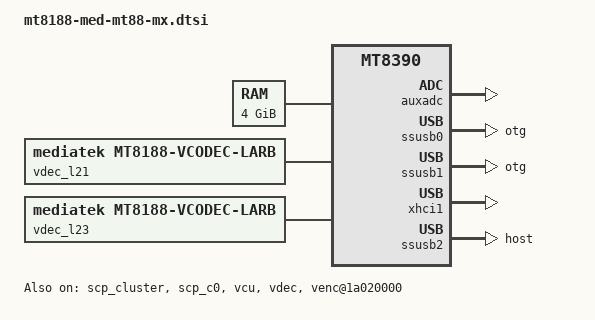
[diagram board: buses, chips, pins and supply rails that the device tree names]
// SPDX-License-Identifier: (GPL-2.0 OR MIT)
/*
 * Libre Computer MED-MT88-MX (MT8188-die SODIMM SOM) -- board half shared by
 * the two SKUs, which are the same PCB with a different eFuse:
 *   MED-MT88-MX-G5 = MT8370  (mt8370-med-mt88-mx-g5.dts, includes mt8370.dtsi)
 *   MED-MT88-MX-G7 = MT8390  (mt8390-med-mt88-mx-g7.dts, includes mt8188.dtsi,
 *                             as mt8390-genio-700-evk.dts does: MT8390 is the
 *                             full MT8188 die, no SoC dtsi of its own)
 * The board .dts includes the SoC dtsi, then this file, and sets only /model
 * and /compatible. Nothing below is SoC-specific: the fused-out G5 cores and
 * GPU core live in mt8370.dtsi.
 *
 * USB map matches U-Boot L66 (024b65093b0) and the MX pinout's USB port
 * allocation:
 *   Type-C P0  = ssusb0 USB2 DRD only (no SSUSB; DP_TX on Type-C SS pins)
 *   SODIMM  P1 = ssusb1 USB3 DRD (u2port1 + u3port1)
 *   SODIMM  P2 = ssusb2 USB2 (Group C)
 *
 * mt8390-genio-common.dtsi is the MT8188 EVK PMIC/mmc/i2c skeleton. The MX is
 * not that EVK: no USB hub, no IT5205 SS/DP mux, Type-C is USB2+DP only.
 * USB nodes below are first-class MX wiring, not an EVK overlay.
 */

#include "mt8390-genio-common.dtsi"
#include "mt8188-apusys.dtsi"

/ {
	/*
	 * Placeholder only: the MX (MT8370/MT8390) BL2 detects DRAM at runtime
	 * (2/4/8 GiB assemblies, one image) and U-Boot rewrites this node from
	 * the detected size. Same value for both SKUs.
	 */
	memory@40000000 {
		device_type = "memory";
		reg = <0 0x40000000 0x1 0x00000000>;
	};
};

/*
 * Memory map. The secure runtime on this board is NOT at the addresses
 * mt8390-genio-common.dtsi reserves for the MT8188 EVKs (BL31 TZRAM
 * 0x54600000, OP-TEE 0x43200000). Our TF-A fork packs it at the DRAM base:
 * plat/mediatek/mt8188/include/platform_def.h:331 TZRAM_BASE 0x40000000,
 * :332 TZRAM_SIZE 2 MiB, :344/:363 BL31_BASE = TZRAM_BASE + 0x1000,
 * :348 BL32_BASE 0x40200000, :349 BL32_LIMIT 10 MiB (master-gaema
 * 75f1e6b60 "mt8188: pack TZRAM/BL32 at DRAM base"). Inherited unchanged,
 * the DT handed Linux 4 GiB from 0x40000000 with nothing reserved below
 * 0x43200000, i.e. BL31 and OP-TEE as ordinary System RAM, and no
 * bootloader can fix it from the other side. U-Boot derives the bank from
 * its own constant, not from the DT: u-boot common/board_f.c:351-352
 * gd->ram_base = CFG_SYS_SDRAM_BASE (u-boot include/configs/mt8188.h:96 =
 * 0x40000000), :247-248 bi_dram[0].start = gd->ram_base, and at bootm
 * u-boot arch/arm/lib/bootm.c:409 -> arch/arm/lib/bootm-fdt.c:34,44-45,54
 * fdt_fixup_memory_banks() writes that start/size back into /memory. The
 * base Linux boots with is therefore 0x40000000 either way, so a
 * reserved-memory node is the only thing that can fence the secure runtime.
 * That is the configuration that made BL31 unbootable behind this BL2: the
 * EL3 image was loaded to the vendor address while its text links at ours.
 *
 * So the two inherited secure carve-outs are deleted below and replaced at
 * the addresses this board's BL31 actually occupies:
 *   0x40000000  2 MiB  BL31  (TZRAM_BASE .. BL31_LIMIT)
 *   0x40200000 12 MiB  BL32  OP-TEE: TEE_RAM 2 + TA_RAM 8 + SHMEM 2, the
 *                         same layout genio-common documents at
 *                         :83-96 for 0x43200000 -- 2 MiB wider than
 *                         BL32_LIMIT on purpose, so the SHMEM that sits
 *                         above the limit is never Linux RAM.
 * Everything else in the genio-common map stays -- SCP 0x50000000, VPU
 * 0x57000000, ADSP 0x60000000 and the DMA pools are loaded by other firmware
 * at the same addresses under both maps -- except the APU pool, which moves
 * below for the reason its own comment gives. The change is in this MX board
 * dtsi, not in the shared EVK dtsi, because the Genio EVKs do boot the vendor
 * map and must keep the inherited nodes.
 *
 * Deleting the inherited nodes is safe: nothing references them. `git grep
 * '&optee_reserved\|&bl31_secmon_reserved' linux-6.18.y-lc -- arch/arm64/boot/dts`
 * is empty; the only memory-region user in genio-common is scp_mem at
 * :1333 (the scp_cluster), and /chosen there carries only stdout-path
 * (:47-49). The bl31_secmon_reserved string the old DTB showed lives in
 * /__symbols__ -- it is generated from the label, not written by hand.
 *
 * The two copies of this file (linux
 * arch/arm64/boot/dts/mediatek/mt8188-med-mt88-mx.dtsi and u-boot
 * dts/upstream/src/arm64/mediatek/mt8188-med-mt88-mx.dtsi) are kept
 * byte-identical except for the pre-existing vcu power-domains hunk --
 * /device-tree-sync: this tree builds U-Boot's own DTB from dts/upstream/,
 * and U-Boot is the stage that fixes up /memory on its way to Linux.
 */
&{/reserved-memory} {
	/delete-node/ memory@54600000;
	/delete-node/ optee@43200000;

	/* 2 MiB for ARM Trusted Firmware (BL31) at TZRAM_BASE */
	bl31_secmon_tzram: memory@40000000 {
		no-map;
		reg = <0 0x40000000 0 0x00200000>;
	};

	/* 12 MiB for OP-TEE (BL32) at BL32_BASE, see the map comment above */
	optee_tzram_reserved: optee@40200000 {
		no-map;
		reg = <0 0x40200000 0 0x00c00000>;
	};
};

/*
 * The APU (RV33) pool is the one inherited reservation this board must not
 * keep at the EVK's address, because EL3 does not read the DT here: BL31's
 * LOAD_IMAGE handler (SiP op 28) compares the address the kernel hands it
 * against compile-time constants. master-gaema 9f2826101
 * plat/mediatek/mt8188/drivers/apusys/apusys_rv/2.0/apusys_rv.h:163-164
 * pins APUSYS_RESERVED_MEM_START 0x41800000 / APUSYS_RESERVED_MEM_SZ
 * 0x1400000 -- its own comment reads "below setting aligned dts (G5 packed
 * CMA after 10 MiB SCP)" -- and the common copy states the contract outright
 * (apusys_rv/2.0/apusys_rv_load_img.h:29-30, "Need same with
 * DTS:apusys-reserve-memory"). is_valid_pa_dram_range() (apusys_rv.c:
 * 2068-2082) is an equality test, not a bounds check, so with the inherited
 * 0x55000000 the size agreed and the base did not: the SMC answered -EINVAL,
 * mtk-apu logged "apusys_rv_loadimage_smc_call: smc call 28 return
 * error(-22)", the driver's probe failed with -22 and MDLA never appeared.
 *
 * 0x41800000 is free on this board, three ways: the secure carve-outs above
 * end at 0x40E00000, the next inherited reservation starts at 0x50000000, and
 * U-Boot's own lmb already holds [0x41800000-0x43ffffff] no-overwrite, so the
 * BL33 never allocates there and Linux stops doing so once this node exists.
 * The size stays 20 MB and the node keeps no no-map, exactly as inherited --
 * the APU maps it itself through apusys_rv's dma-ranges, and BL31 requires
 * 0 < apusys_img_size < res_mem_size with img/sec_info/sec_mem/coredump packed
 * inside it (apusys_rv.c:3075-3105).
 */
&{/reserved-memory} {
	/delete-node/ memory@55000000;

	/* 20 MB for the APU RV33 firmware, where BL31's op-28 gate reads it */
	apu_mem: memory@41800000 {
		compatible = "shared-dma-pool";
		reg = <0 0x41800000 0 0x01400000>;	/* 20 MB */
	};
};

&{/chosen} {
	/* where the EL3 runtime lives, named where a reader looks for it */
	bl31_secmon_reserved = "/reserved-memory/memory@40000000";
};

&auxadc {
	/*
	 * The board wires AUXIN0 to a thermistor and AUXIN1 to a board-ID divider
	 * (MED-MT88-MX schematic V0.1, the AUXIN block of the SoC sheet).
	 */
	status = "okay";
};

&mmc0 {
	/*
	 * Run the eMMC at HS400 Enhanced Strobe. The fitted chip (Sandisk DG4064)
	 * supports it (EXT_CSD STROBE_SUPPORT[184]=0x01, verified). ES is
	 * self-aligning: the device drives the data strobe with the data, so the
	 * host skips the plain-HS400 DS-delay eye search
	 * (msdc_execute_hs400_tuning). That search is marginal on this board with
	 * the genio-common hs400-ds-delay-only config -- it intermittently fails
	 * cold with "Failed to get DLY1 delay" -> "error -5 whilst initialising
	 * MMC card". ES avoids it entirely (matches our u-boot, which runs ES, and
	 * the mt8188-geralt Chromebook). Genio-510-specific override -- not in the
	 * shared mt8390-genio-common.dtsi (genio-700/1200 use that too, untested).
	 */
	mmc-hs400-enhanced-strobe;
};

/*
 * Genio-510 uses HDMI, not DisplayPort. The shared mt8390-genio-common.dtsi
 * defines merge5_out -> dpi1_in (HDMI) but then redefines it -> dp_intf1_in
 * (DisplayPort) later in the same file, which wins by include order and leaves
 * the HDMI pipeline (vdosys1 -> ethdr0 -> merge5 -> dpi1 -> hdmi) with no
 * scanout. Re-point merge5_out at dpi1 here (board dts, included last).
 */
&merge5_out {
	remote-endpoint = <&dpi1_in>;
};

/*
 * Genio-510 has no DisplayPort output -- only HDMI. mt8390-genio-common.dtsi
 * enables dp_intf1 + dp_tx and wires them into the vdosys1 of-graph (for the
 * MT8390 EVK's USB-C DP-altmode). dp_intf1's mediatek-dpi probe defers forever
 * ("Failed to get bridge" -- dp_tx provides no bridge on this board), and because
 * mtk_drm_of_ddp_path_build walks the of-graph, the never-binding dp_intf1 is a
 * required component of the vdosys1 DRM master, which therefore never completes
 * component_master_bind -> no HDMI CRTC -> no mediatek KMS card (modetest sees
 * only panfrost: "not a KMS device"). Re-pointing merge5_out -> dpi1 (above) is
 * necessary but not sufficient; we must also remove dp_intf1/dp_tx from the graph.
 * Disable both so the vdosys1 master binds with the HDMI path only.
 */
&dp_intf1 {
	status = "disabled";
};

&dp_tx {
	status = "disabled";
};

/*
 * Genio-510 is HDMI-only with no physical MIPI-DSI panel. mt8390-genio-common.dtsi
 * enables &disp_dsi0 + a startek,kd070fhfid078 panel for the MT8390 EVK. On the 510
 * the vdosys0 DRM master (the PRIMARY that calls drm_dev_register for the single
 * shared mtk drm_device) never completes -- its dsi/panel component never registers
 * (device_component: mediatek-drm.5.auto "not bound", one component "not
 * registered") -- so NO mediatek KMS card appears even though the vdosys1/HDMI
 * master is bound. Disable disp_dsi0 so vdosys0 drops out and HDMI owns the device.
 */
&disp_dsi0 {
	status = "disabled";
};

/*
 * VCU (vendor Genio) codec path selected. The mainline SCP-path mtk-vcodec
 * (mt8188-vcodec-dec/enc) and the vendor VCU nodes below both claim
 * 0x18000000 / 0x1a020000, so exactly ONE set may be "okay" -- the loser gets
 * -EBUSY on the register banks. Mainline+SCP was measured on 2026-08-29 and
 * walls at the SCP codec IPI (scp ipi 14/4 ack time out), so the mainline
 * nodes are disabled here and the VCU/vpud path (proven on MT8188 Genio-510,
 * 2026-06-25) is enabled instead. Do not enable display CRTC (&disp_dsi0 /
 * DP / HDMI).
 */
&video_decoder {
	status = "disabled";
};

&video_encoder {
	status = "disabled";
};

&{/soc} {
	vcu: vcu@18000000 {
		compatible = "mediatek,mt8395-vcu";
		status = "okay";
		mediatek,vcuid = <0>;
		mediatek,vcuname = "vcu";
		mediatek,vcu-off = <0>;
		reg = <0 0x18000000 0 0x40000>,		/* VDEC_BASE */
		      <0 0x1a020000 0 0x10000>;		/* VENC_BASE */

		/* held while /dev/vcu is open: vpud maps the banks above */
		power-domains = <&spm MT8188_POWER_DOMAIN_VDEC0>,
				<&spm MT8188_POWER_DOMAIN_VDEC1>,
				<&spm MT8188_POWER_DOMAIN_VENC>;
		power-domain-names = "vdec0", "vdec1", "venc";

		iommus = <&vdo_iommu M4U_PORT_L19_VENC_RD_COMV>;

		mediatek,mailbox-gce = <&gce1>;
		mediatek,dec_gce_th_num = <1>;
		mediatek,enc_gce_th_num = <1>;

		mboxes = <&gce1 16 CMDQ_THR_PRIO_1>,
			 <&gce1 17 CMDQ_THR_PRIO_1>;

		gce-event-names = "venc_eof",
				  "venc_wp_2nd_done",
				  "venc_wp_3nd_done";

		gce-events = <CMDQ_EVENT_VENC_TOP_VENC_FRAME_DONE>,
			     <CMDQ_EVENT_VENC_TOP_WP_2ND_STAGE_DONE>,
			     <CMDQ_EVENT_VENC_TOP_WP_3RD_STAGE_DONE>;

		/* GCE_GPR_R10 / GCE_GPR_R11 (gce/mt8195-gce.h: 0xa / 0xb) */
		gce-gpr = <0xa>, <0xb>;
	};

	vdec: vdec@18000000 {
		compatible = "mediatek,mt8395-vcodec-dec";
		status = "okay";
		mediatek,platform = "platform:mt8188";
		mediatek,ipm = <2>;
		reg = <0 0x18000000 0 0x800>,		/* VDEC_BASE */
		      <0 0x18020000 0 0x1000>,		/* VDEC_VLD */
		      <0 0x18025000 0 0x1000>,		/* VDEC_MISC */
		      <0 0x18010000 0 0x800>,		/* VDEC_LAT_MISC */
		      <0 0x18004000 0 0x1000>,		/* VDEC_RACING_CTRL */
		      <0 0x1800f000 0 0x800>,		/* VDEC_SOC_GCON */
		      <0 0x18010800 0 0x800>,		/* VDEC_LAT_WDMA */
		      <0 0x18001000 0 0x1000>,		/* VDEC_LAT_TOP */
		      <0 0x18000800 0 0x800>;		/* VDEC_UFO_ENC */
		reg-names = "VDEC_BASE",
			    "VDEC_VLD",
			    "VDEC_MISC",
			    "VDEC_LAT_MISC",
			    "VDEC_RACING_CTRL",
			    "VDEC_SOC_GCON",
			    "VDEC_LAT_WDMA",
			    "VDEC_LAT_TOP",
			    "VDEC_UFO_ENC";

		iommus = <&vdo_iommu M4U_PORT_L19_VENC_RD_COMV>;
		power-domains = <&spm MT8188_POWER_DOMAIN_VDEC0>;	/* SOC */
		interrupts = <GIC_SPI 707 IRQ_TYPE_LEVEL_HIGH 0>,
			     <GIC_SPI 708 IRQ_TYPE_LEVEL_HIGH 0>,
			     <GIC_SPI 710 IRQ_TYPE_LEVEL_HIGH 0>;

		clocks = <&vdecsys_soc CLK_VDEC1_SOC_LARB1>,
			 <&vdecsys_soc CLK_VDEC1_SOC_LAT>,
			 <&vdecsys_soc CLK_VDEC1_SOC_VDEC>,
			 <&vdecsys CLK_VDEC2_LARB1>,
			 <&vdecsys CLK_VDEC2_VDEC>;
		clock-names = "SOC_MT_CG_LARB1",
			      "LAT_MT_CG_VDEC",
			      "SOC_MT_CG_VDEC",
			      "CORE_MT_CG_LARB1",
			      "CORE_MT_CG_VDEC";

		assigned-clocks = <&topckgen CLK_TOP_VDEC>;
		assigned-clock-parents = <&apmixedsys CLK_APMIXED_TVDPLL2>;
		mediatek,vcu = <&vcu>;
	};

	venc@1a020000 {
		compatible = "mediatek,mt8395-vcodec-enc";
		status = "okay";
		mediatek,platform = "platform:mt8188";
		mediatek,ipm = <2>;
		reg = <0 0x1a020000 0 0x10000>;		/* VENC_C0 */
		reg-names = "VENC_SYS";
		iommus = <&vdo_iommu M4U_PORT_L19_VENC_RD_COMV>;
		interrupts = <GIC_SPI 353 IRQ_TYPE_LEVEL_HIGH 0>;
		clocks = <&vencsys CLK_VENC1_VENC>;
		clock-names = "MT_CG_VENC0";
		assigned-clocks = <&topckgen CLK_TOP_VENC>;
		assigned-clock-parents = <&topckgen CLK_TOP_UNIVPLL_D4>;
		mediatek,vcu = <&vcu>;
		port-arg-num = <3>;
		port-def = <0 M4U_PORT_L19_VENC_RCPU 0>,
			   <0 M4U_PORT_L19_VENC_REC 0>,
			   <0 M4U_PORT_L19_VENC_BSDMA 0>,
			   <0 M4U_PORT_L19_VENC_SV_COMV 0>,
			   <0 M4U_PORT_L19_VENC_RD_COMV 0>,
			   <0 M4U_PORT_L19_VENC_NBM_RDMA 1>,
			   <0 M4U_PORT_L19_VENC_NBM_RDMA_LITE 1>,
			   <0 M4U_PORT_L19_VENC_SUB_W_LUMA 0>,
			   <0 M4U_PORT_L19_VENC_FCS_NBM_RDMA 1>,
			   <0 M4U_PORT_L19_VENC_NBM_WDMA 1>,
			   <0 M4U_PORT_L19_VENC_NBM_WDMA_LITE 1>,
			   <0 M4U_PORT_L19_VENC_FCS_NBM_WDMA 1>,
			   <0 M4U_PORT_L19_VENC_CUR_LUMA 0>,
			   <0 M4U_PORT_L19_VENC_CUR_CHROMA 0>,
			   <0 M4U_PORT_L19_VENC_REF_LUMA 0>,
			   <0 M4U_PORT_L19_VENC_REF_CHROMA 0>,
			   <0 M4U_PORT_L19_VENC_SUB_R_LUMA 0>;
	};

	venc_l19 {
		compatible = "mediatek,mt8188-venc-larb";
		mediatek,larb-id = <19>;
		mediatek,hw-id = <0>;
		power-domains = <&spm MT8188_POWER_DOMAIN_VENC>;
		iommus = <&vdo_iommu M4U_PORT_L19_VENC_RCPU>,
			 <&vdo_iommu M4U_PORT_L19_VENC_REC>,
			 <&vdo_iommu M4U_PORT_L19_VENC_BSDMA>,
			 <&vdo_iommu M4U_PORT_L19_VENC_SV_COMV>,
			 <&vdo_iommu M4U_PORT_L19_VENC_RD_COMV>,
			 <&vdo_iommu M4U_PORT_L19_VENC_NBM_RDMA>,
			 <&vdo_iommu M4U_PORT_L19_VENC_NBM_RDMA_LITE>,
			 <&vdo_iommu M4U_PORT_L19_VENC_SUB_W_LUMA>,
			 <&vdo_iommu M4U_PORT_L19_VENC_FCS_NBM_RDMA>,
			 <&vdo_iommu M4U_PORT_L19_VENC_NBM_WDMA>,
			 <&vdo_iommu M4U_PORT_L19_VENC_NBM_WDMA_LITE>,
			 <&vdo_iommu M4U_PORT_L19_VENC_FCS_NBM_WDMA>,
			 <&vdo_iommu M4U_PORT_L19_VENC_CUR_LUMA>,
			 <&vdo_iommu M4U_PORT_L19_VENC_CUR_CHROMA>,
			 <&vdo_iommu M4U_PORT_L19_VENC_REF_LUMA>,
			 <&vdo_iommu M4U_PORT_L19_VENC_REF_CHROMA>,
			 <&vdo_iommu M4U_PORT_L19_VENC_SUB_R_LUMA>;
	};

	vdec_l21 {
		compatible = "mediatek,mt8188-vcodec-larb";
		mediatek,larb-id = <21>;
		mediatek,hw-id = <0>;
		power-domains = <&spm MT8188_POWER_DOMAIN_VDEC1>;	/* core0 */
		iommus = <&vdo_iommu M4U_PORT_L21_HW_VDEC_MC_EXT>,
			 <&vdo_iommu M4U_PORT_L21_HW_VDEC_UFO_EXT>,
			 <&vdo_iommu M4U_PORT_L21_HW_VDEC_PP_EXT>,
			 <&vdo_iommu M4U_PORT_L21_HW_VDEC_PRED_RD_EXT>,
			 <&vdo_iommu M4U_PORT_L21_HW_VDEC_PRED_WR_EXT>,
			 <&vdo_iommu M4U_PORT_L21_HW_VDEC_PPWRAP_EXT>,
			 <&vdo_iommu M4U_PORT_L21_HW_VDEC_TILE_EXT>,
			 <&vdo_iommu M4U_PORT_L21_HW_VDEC_VLD_EXT>,
			 <&vdo_iommu M4U_PORT_L21_HW_VDEC_VLD2_EXT>,
			 <&vdo_iommu M4U_PORT_L21_HW_VDEC_AVC_MV_EXT>,
			 <&vdo_iommu M4U_PORT_L21_HW_VDEC_UFO_EXT_C>;
	};

	vdec_l23 {
		compatible = "mediatek,mt8188-vcodec-larb";
		mediatek,larb-id = <23>;
		mediatek,hw-id = <1>;
		power-domains = <&spm MT8188_POWER_DOMAIN_VDEC0>;	/* soc */
		iommus = <&vpp_iommu M4U_PORT_L23_HW_VDEC_LAT0_VLD_EXT>,
			 <&vpp_iommu M4U_PORT_L23_HW_VDEC_LAT0_VLD2_EXT>,
			 <&vpp_iommu M4U_PORT_L23_HW_VDEC_LAT0_AVC_MV_EXT>,
			 <&vpp_iommu M4U_PORT_L23_HW_VDEC_LAT0_PRED_RD_EXT>,
			 <&vpp_iommu M4U_PORT_L23_HW_VDEC_LAT0_TILE_EXT>,
			 <&vpp_iommu M4U_PORT_L23_HW_VDEC_LAT0_WDMA_EXT>,
			 <&vpp_iommu M4U_PORT_L23_HW_VDEC_UFO_ENC_EXT>,
			 <&vpp_iommu M4U_PORT_L23_HW_VDEC_UFO_ENC_EXT_C>,
			 <&vpp_iommu M4U_PORT_L23_HW_VDEC_MC_EXT_C>;
	};
};

/*
 * USB — MED-MT88-MX (not the Genio-510/700 EVK).
 *
 * Type-C P0: USB2 DRD on ssusb0 (u2port0). No U3 PHY on this port
 * (u3p-dis-msk). Gadget KEEP is HS 480 on Plugable 3-2.1.3.3.
 *
 * SODIMM P1: USB3 DRD on ssusb1 (u2port1+u3port1). dr_mode=otg so
 * mtu3 registers the child xhci1 platform device. No EVK USB hub.
 * usb-role-switch is the EVK Type-C mux; drop it so P1 is not bound
 * to the on-board Type-C. of-graph labels stay so genio-common
 * rt1715 remote-endpoints still resolve (dtc); they do not switch P1.
 *
 * SODIMM P2: USB2 host on ssusb2 (u2port2). Not the EVK M.2/RPi OTG
 * header — no ID GPIO connector.
 */
&ssusb0 {
	dr_mode = "otg";
	maximum-speed = "high-speed";
	mediatek,u3p-dis-msk = <1>;
};

&ssusb1 {
	dr_mode = "otg";
	maximum-speed = "super-speed";
	/delete-property/ usb-role-switch;
};

&xhci1 {
	status = "okay";
	/delete-node/ hub@1;
	/delete-node/ hub@2;
};

&ssusb2 {
	dr_mode = "host";
	maximum-speed = "high-speed";
	/delete-property/ usb-role-switch;
	/delete-node/ connector;
};

/*
 * Common dtsi wires xhci2 vbus-supply to EVK Wi-Fi 3V3 (sdio_fixed_3v3).
 * MX SODIMM P2 is not that rail; the LDO is already on → EALREADY.
 */
&xhci2 {
	/delete-property/ vbus-supply;
};

/*
 * &sound { model } is the ALSA card name and carries the SKU (g5 / g7), so
 * each board .dts sets it -- not mt8390-evk from mt8390-genio-common.dtsi.
 * Keep mediatek,mt8188-mt6359-evb (mt8188-mt6359 machine driver).
 * SOF tplg stays sof-mt8188.tplg (mt8188 SOF desc, not this model).
 */

/* SCP core0 (RV32 EC lineage): enable for the open firmware stack.
 * firmware-name pins the rproc loader to the staged image; the deb
 * images ship the vendor blob under this name and the G5 open-SCP
 * DRAM-boot FIT stages the chromeos-ec-built image under it too.
 */
&scp_cluster {
	status = "okay";
};

&scp_c0 {
	status = "okay";
	firmware-name = "mediatek/mt8188/scp.img";

	/*
	 * Same node kukui, corsola, asurada and cherry use. mtk_rpmsg
	 * matches the firmware name-service announce to mediatek,rpmsg-name
	 * and attaches this OF node, so the upstream google,cros-ec-rpmsg
	 * driver binds. Geralt stays on google,cros-ec-spi and does not
	 * include this dtsi.
	 */
	cros-ec-rpmsg {
		compatible = "google,cros-ec-rpmsg";
		mediatek,rpmsg-name = "cros-ec-rpmsg";
	};
};
